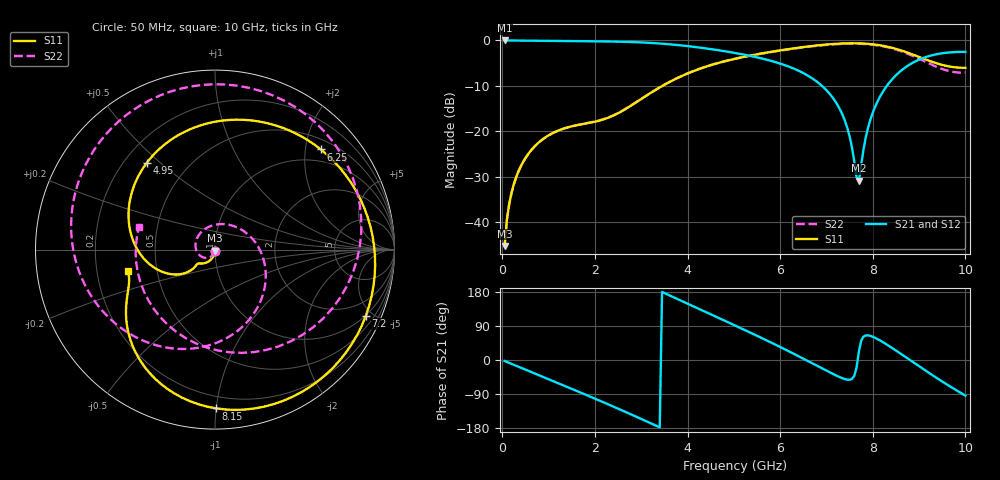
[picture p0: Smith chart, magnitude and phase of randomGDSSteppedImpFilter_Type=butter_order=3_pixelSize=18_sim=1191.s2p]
! freq	dB(S11)	phase(S11)	dB(S12)	phase(S12)
!  dB(S21)	phase(S21)	dB(S22)	phase(S22)
!S-par simulation data
#  GHz  S  DB  R 50
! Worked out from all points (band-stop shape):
!   200 points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, 50 MHz to 10 GHz, reference 50 ohm
!   highest |S21| = 0.00 dB at 50 MHz (marker M1); lowest = -30.9 dB at 7.7 GHz (marker M2)
!   |S21| within 3 dB of the highest: start of sweep to 5.155 GHz; 9.395 GHz to end of sweep
!   lowest |S11| = -45.3 dB at 50 MHz (marker M3), VSWR 1.01, Z = 50 - j0.543 ohm
!   |S11| at or under -10 dB: start of sweep to 3.46 GHz
!   |S22| runs from -45.3 to -0.7 dB; largest |S21 - S12| = 0
!   S11 on the Smith chart (normalised r, x): 50 MHz: 1.00, -0.01; 4.95 GHz: 0.29, +0.45; 6.25 GHz: 0.71, +2.33; 7.2 GHz: 0.97, -4.56; 8.15 GHz: 0.12, -1.00; 10 GHz: 0.34, -0.11
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0.05  -45.30 -89.9  -0.00 -2.6  -0.00 -2.6  -45.32 -89.9
0.2  -33.54 -96.9  -0.02 -10.2  -0.02 -10.2  -33.56 -102.6
0.5  -25.91 -108.5  -0.05 -25.4  -0.05 -25.4  -25.94 -123.2
1.75  -18.40 -140.1  -0.17 -89.0  -0.17 -89.0  -18.37 140.0
2.5  -16.04 -139.1  -0.27 -128.4  -0.27 -128.4  -15.99 60.5
3.4  -10.35 -154.6  -0.67 -177.7  -0.67 -177.7  -10.32 -22.4
4.25  -6.29 167.4  -1.55 134.7  -1.55 134.7  -6.26 -79.3
4.95  -4.22 128.1  -2.63 95.4  -2.63 95.4  -4.21 -118.5
5.05  -3.99 122.1  -2.81 89.7  -2.81 89.7  -3.98 -123.8
5.7  -2.69 80.8  -4.22 52.2  -4.22 52.2  -2.72 -157.5
6.25  -1.81 43.4  -6.02 19.1  -6.02 19.1  -1.86 172.9
6.7  -1.21 11.8  -8.40 -9.1  -8.40 -9.1  -1.28 146.5
7.2  -0.75 -23.7  -13.57 -40.4  -13.57 -40.4  -0.83 113.1
7.45  -0.64 -41.4  -19.28 -51.8  -19.28 -51.8  -0.72 94.4
7.7  -0.64 -58.9  -30.87 22.3  -30.87 22.3  -0.73 74.0
7.9  -0.76 -72.7  -19.15 65.0  -19.15 65.0  -0.84 56.4
8.15  -1.06 -89.6  -12.51 52.0  -12.51 52.0  -1.16 32.6
8.35  -1.46 -102.5  -9.40 37.1  -9.40 37.1  -1.58 12.2
8.75  -2.68 -125.8  -5.60 4.3  -5.60 4.3  -2.92 -32.5
9.1  -4.03 -141.9  -3.82 -24.8  -3.82 -24.8  -4.52 -75.5
9.55  -5.52 -155.7  -2.76 -60.7  -2.76 -60.7  -6.47 -135.8
10  -6.03 -166.3  -2.52 -94.1  -2.52 -94.1  -7.10 163.4
